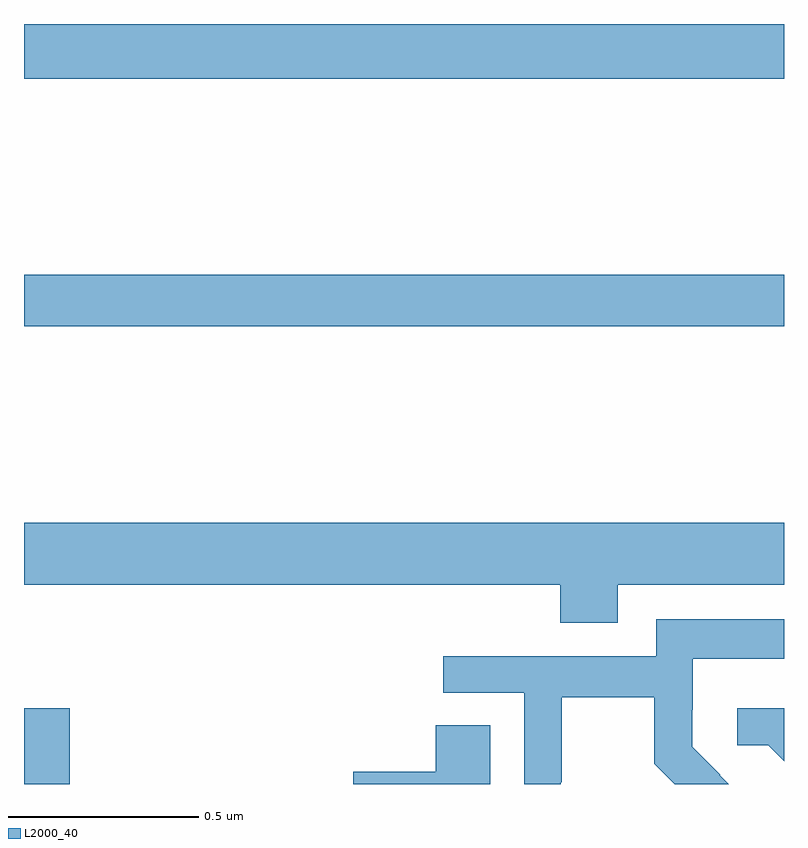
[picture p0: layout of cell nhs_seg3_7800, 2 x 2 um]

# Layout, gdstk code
import gdstk
lib = gdstk.Library(unit=1e-6, precision=1e-09)
def R(c, l, rs):  # rectangles x0, y0, x1, y1
    for r in rs: c.add(gdstk.rectangle(r[:2], r[2:], *l))
def P(c, l, *ps):  # polygons
    for p in ps: c.add(gdstk.Polygon(p, *l))
L2000_40 = (2000, 40)

nhs_seg3_7800 = lib.new_cell('nhs_seg3_7800')
R(nhs_seg3_7800, L2000_40, [(208,692.4,208.121,692.599), (208,693.604,210,693.74), (208,694.256,210,694.4)])
P(nhs_seg3_7800, L2000_40, [(209.563,692.924),(210,692.924),(210,693.088),(208,693.088),(208,692.924),(209.411,692.924),(209.411,692.825),(209.563,692.825)],
  [(209.412,692.404),(209.415,692.404),(209.415,692.628),(209.659,692.628),(209.659,692.453),(209.712,692.4),(209.854,692.4),(209.831,692.423),(209.832,692.424),(209.758,692.498),(209.758,692.595),(209.76,692.595),(209.76,692.729),(210,692.729),(210,692.833),(209.664,692.833),(209.664,692.736),(209.103,692.736),(209.103,692.64),(209.316,692.64),(209.316,692.4),(209.412,692.4)],
  [(210,692.599),(209.877,692.599),(209.877,692.502),(209.958,692.502),(210,692.46)],
  [(209.227,692.555),(209.084,692.555),(209.084,692.432),(208.866,692.432),(208.866,692.4),(209.227,692.4)])

lib.write_gds('nhs_seg3_7800.gds')
